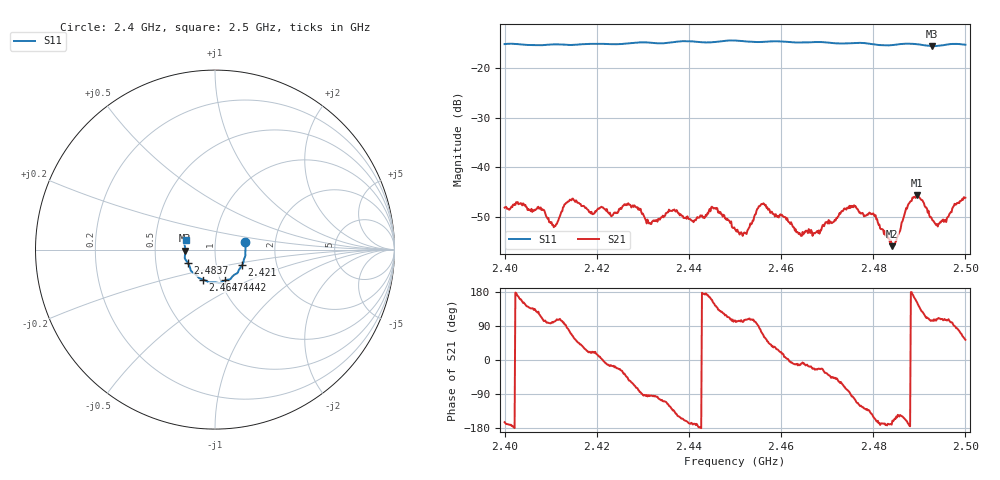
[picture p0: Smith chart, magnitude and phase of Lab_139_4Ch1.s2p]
# Hz S RI R 50
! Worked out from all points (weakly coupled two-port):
!   601 points, 2.4 GHz to 2.5 GHz, reference 50 ohm
!   highest |S21| = -45.57 dB at 2.4895 GHz (marker M1); lowest = -55.9 dB at 2.484 GHz (marker M2)
!   lowest |S11| = -15.6 dB at 2.4928 GHz (marker M3), VSWR 1.40, Z = 35.8 - j0.381 ohm
!   |S11| at or under -10 dB: start of sweep to end of sweep
!   S12 and S22 are empty: the file has one direction only
!   S11 on the Smith chart (normalised r, x): 2.4 GHz: 1.40, +0.12; 2.421 GHz: 1.33, -0.24; 2.4442 GHz: 1.05, -0.37; 2.4647 GHz: 0.83, -0.29; 2.4837 GHz: 0.73, -0.11; 2.5 GHz: 0.72, +0.08
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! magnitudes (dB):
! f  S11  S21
! 2.4 GHz  -15.2  -48.1
! 2.4077 GHz  -15.4  -48.3
! 2.4108 GHz  -15.3  -51.8
! 2.4137 GHz  -15.4  -46.9
! 2.4167 GHz  -15.3  -47.8
! 2.421 GHz  -15.2  -48.0
! 2.4268 GHz  -15.1  -47.3
! 2.4333 GHz  -15.1  -50.4
! 2.4442 GHz  -14.9  -49.4
! 2.45 GHz  -14.5  -52.5
! 2.4522 GHz  -14.7  -53.2
! 2.4562 GHz  -14.8  -47.3
! 2.4647 GHz  -14.9  -53.0
! 2.4667 GHz  -14.8  -52.9
! 2.4757 GHz  -15.0  -48.0
! 2.48 GHz  -15.2  -49.3
! 2.4833 GHz  -15.5  -54.2
! 2.4837 GHz  -15.5  -55.4
! 2.484 GHz  -15.4  -55.9
! 2.4895 GHz  -15.2  -45.6
! 2.4928 GHz  -15.6  -50.7
! 2.5 GHz  -15.3  -46.1
